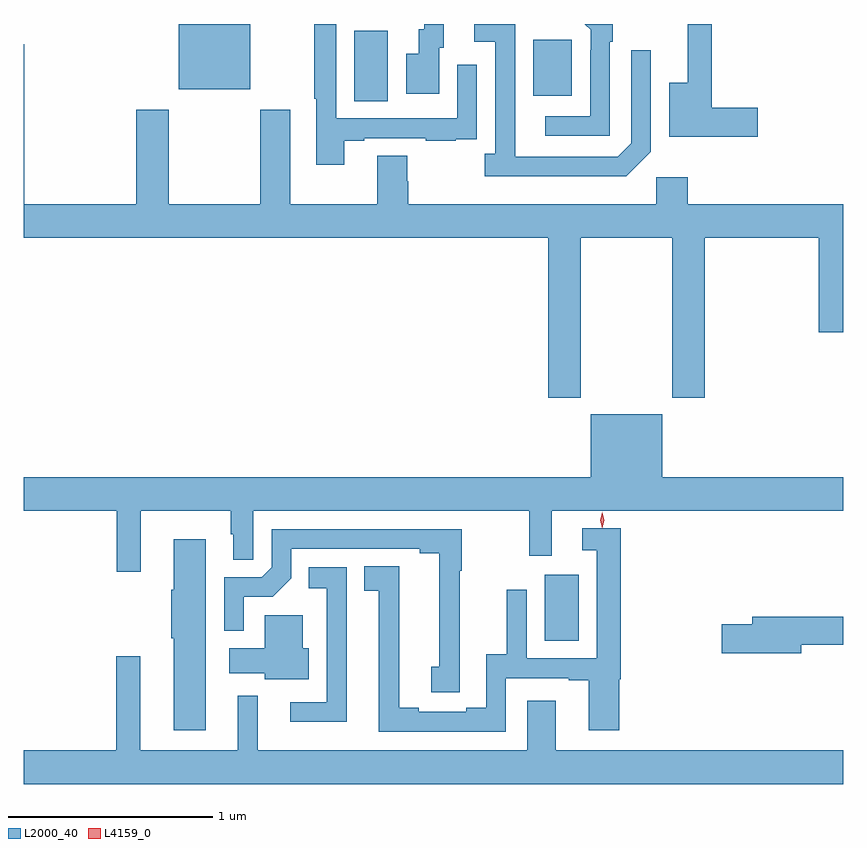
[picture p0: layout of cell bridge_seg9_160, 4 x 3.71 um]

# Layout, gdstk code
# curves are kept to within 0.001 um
import gdstk
lib = gdstk.Library(unit=1e-6, precision=1e-09)
def R(c, l, rs):  # rectangles x0, y0, x1, y1
    for r in rs: c.add(gdstk.rectangle(r[:2], r[2:], *l))
def P(c, l, *ps):  # polygons
    for p in ps: c.add(gdstk.Polygon(p, *l))
L2000_40 = (2000, 40)
L4159_0 = (4159, 0)

bridge_seg9_160 = lib.new_cell('bridge_seg9_160')
R(bridge_seg9_160, L2000_40, [(318.32,1229.086,318.484,1229.41), (317.39,1231.72,317.554,1232.064), (318.263,1231.745,318.451,1232.02), (316.532,1231.778,316.882,1232.096)])
P(bridge_seg9_160, L2000_40, [(318.636,1232.009),(318.651,1232.009),(318.651,1232.096),(318.514,1232.096),(318.543,1232.067),(318.543,1231.967),(318.54,1231.967),(318.54,1231.647),(318.321,1231.647),(318.321,1231.551),(318.636,1231.551)],
  [(319.357,1231.688),(319.133,1231.688),(319.133,1232.096),(319.016,1232.096),(319.016,1231.81),(318.926,1231.81),(318.926,1231.546),(319.357,1231.546)],
  [(317.341,1231.527),(317.437,1231.527),(317.437,1231.539),(317.737,1231.539),(317.737,1231.527),(317.885,1231.527),(317.885,1231.533),(317.987,1231.533),(317.987,1231.642),(317.988,1231.642),(317.988,1231.897),(317.892,1231.897),(317.892,1231.635),(317.301,1231.635),(317.301,1232.096),(317.193,1232.096),(317.193,1231.732),(317.205,1231.732),(317.205,1231.41),(317.341,1231.41)],
  [(317.803,1231.98),(317.827,1231.98),(317.827,1232.096),(317.73,1232.096),(317.73,1232.07),(317.705,1232.07),(317.705,1231.951),(317.642,1231.951),(317.642,1231.755),(317.803,1231.755)],
  [(318.837,1231.473),(318.837,1231.969),(318.741,1231.969),(318.741,1231.515),(318.675,1231.449),(318.175,1231.449),(318.174,1232.096),(317.976,1232.096),(317.976,1232.01),(318.078,1232.01),(318.078,1231.462),(318.027,1231.462),(318.027,1231.352),(318.716,1231.352)],
  [(318.335,1230.273),(318.495,1230.273),(318.495,1231.052),(318.94,1231.052),(318.94,1230.273),(319.1,1230.273),(319.1,1231.052),(319.655,1231.052),(319.655,1230.591),(319.776,1230.591),(319.776,1231.216),(319.016,1231.216),(319.016,1231.348),(318.864,1231.348),(318.864,1231.216),(317.654,1231.216),(317.654,1231.329),(317.649,1231.329),(317.649,1231.454),(317.501,1231.454),(317.501,1231.216),(317.077,1231.216),(317.077,1231.678),(316.93,1231.678),(316.93,1231.216),(316.485,1231.216),(316.485,1231.678),(316.325,1231.678),(316.325,1231.216),(315.779,1231.216),(315.779,1231.996),(315.776,1231.996),(315.776,1231.052),(318.335,1231.052)],
  [(316.348,1229.72),(316.788,1229.72),(316.788,1229.607),(316.799,1229.607),(316.799,1229.482),(316.896,1229.482),(316.896,1229.72),(318.243,1229.72),(318.243,1229.502),(318.352,1229.502),(318.352,1229.72),(319.776,1229.72),(319.776,1229.884),(318.892,1229.884),(318.892,1230.193),(318.542,1230.193),(318.542,1229.884),(315.776,1229.884),(315.776,1229.72),(316.231,1229.72),(316.231,1229.424),(316.348,1229.424)],
  [(318.129,1228.905),(318.437,1228.905),(318.437,1228.893),(318.533,1228.893),(318.533,1228.65),(318.683,1228.65),(318.683,1228.898),(318.689,1228.898),(318.689,1229.635),(318.501,1229.635),(318.501,1229.529),(318.573,1229.529),(318.573,1229.001),(318.231,1229.001),(318.231,1229.335),(318.133,1229.335),(318.133,1229.021),(318.033,1229.021),(318.033,1228.76),(317.936,1228.76),(317.936,1228.74),(317.704,1228.74),(317.704,1228.76),(317.608,1228.76),(317.608,1229.041),(317.609,1229.041),(317.609,1229.45),(317.437,1229.45),(317.437,1229.332),(317.51,1229.332),(317.51,1228.644),(318.129,1228.644)],
  [(317.905,1229.428),(317.915,1229.428),(317.915,1229.631),(316.986,1229.631),(316.986,1229.445),(316.938,1229.397),(316.755,1229.397),(316.755,1229.135),(316.851,1229.135),(316.851,1229.301),(316.992,1229.301),(317.082,1229.391),(317.082,1229.535),(317.708,1229.535),(317.708,1229.515),(317.804,1229.515),(317.804,1228.96),(317.765,1228.96),(317.765,1228.836),(317.905,1228.836)],
  [(316.666,1229.581),(316.508,1229.581),(316.508,1229.336),(316.496,1229.336),(316.496,1229.098),(316.508,1229.098),(316.508,1228.65),(316.666,1228.65)],
  [(317.353,1229.242),(317.352,1229.242),(317.352,1229.445),(317.167,1229.445),(317.167,1229.344),(317.256,1229.344),(317.256,1228.788),(317.076,1228.788),(317.076,1228.691),(317.353,1228.691)],
  [(317.167,1229.05),(317.137,1229.05),(317.137,1229.212),(316.952,1229.212),(316.952,1229.05),(316.779,1229.05),(316.779,1228.928),(316.952,1228.928),(316.952,1228.898),(317.167,1228.898)],
  [(319.57,1229.068),(319.776,1229.068),(319.776,1229.204),(319.331,1229.204),(319.331,1229.168),(319.182,1229.168),(319.182,1229.026),(319.57,1229.026)],
  [(319.776,1228.552),(318.373,1228.552),(318.373,1228.795),(318.233,1228.795),(318.233,1228.552),(316.918,1228.552),(316.918,1228.819),(316.82,1228.819),(316.82,1228.552),(316.345,1228.552),(316.345,1229.011),(316.228,1229.011),(316.228,1228.552),(315.776,1228.552),(315.776,1228.388),(319.776,1228.388)])
P(bridge_seg9_160, L4159_0, [(318.599,1229.637),(318.599,1229.637),(318.589,1229.676),(318.599,1229.715),(318.6,1229.715),(318.6,1229.715),(318.609,1229.676),(318.599,1229.637)])

lib.write_gds('bridge_seg9_160.gds')
